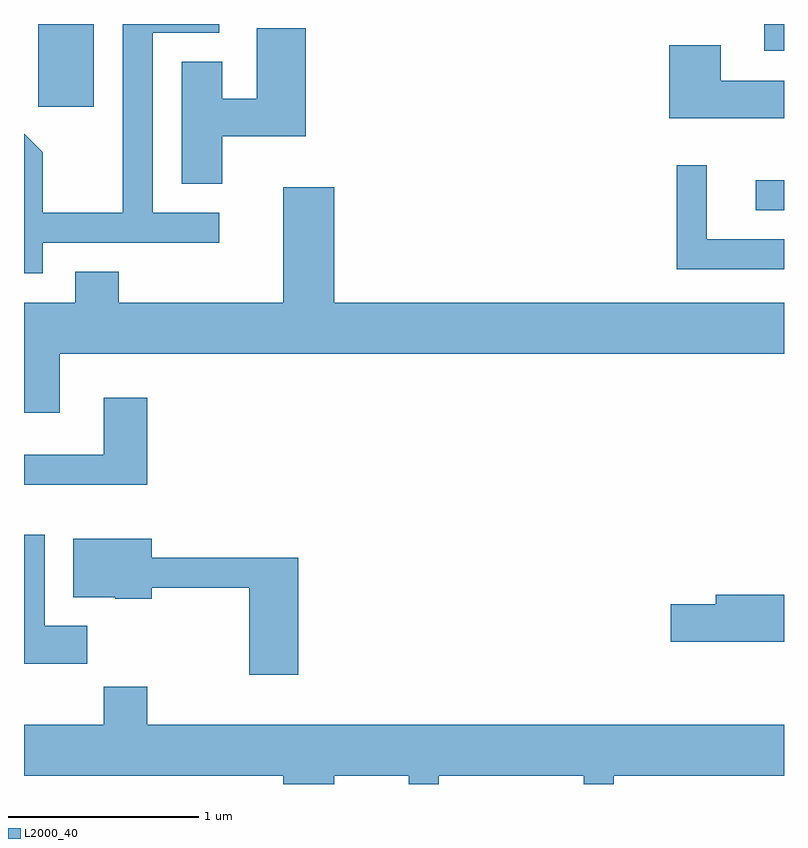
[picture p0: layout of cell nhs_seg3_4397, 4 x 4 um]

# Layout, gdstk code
import gdstk
lib = gdstk.Library(unit=1e-6, precision=1e-09)
def R(c, l, rs):  # rectangles x0, y0, x1, y1
    for r in rs: c.add(gdstk.rectangle(r[:2], r[2:], *l))
def P(c, l, *ps):  # polygons
    for p in ps: c.add(gdstk.Polygon(p, *l))
L2000_40 = (2000, 40)

nhs_seg3_4397 = lib.new_cell('nhs_seg3_4397')
R(nhs_seg3_4397, L2000_40, [(317.463,1208.911,317.611,1209.069), (313.686,1209.456,313.979,1209.892), (317.506,1209.751,317.611,1209.892)])
P(nhs_seg3_4397, L2000_40, [(313.709,1208.741),(314.638,1208.741),(314.638,1208.899),(314.289,1208.899),(314.289,1209.846),(314.638,1209.846),(314.638,1209.892),(314.131,1209.892),(314.131,1208.899),(313.709,1208.899),(313.709,1209.217),(313.611,1209.315),(313.611,1208.581),(313.709,1208.581)],
  [(314.654,1209.301),(315.094,1209.301),(315.094,1209.869),(314.836,1209.869),(314.836,1209.499),(314.654,1209.499),(314.654,1209.694),(314.441,1209.694),(314.441,1209.051),(314.654,1209.051)],
  [(317.611,1209.594),(317.279,1209.594),(317.279,1209.779),(317.006,1209.779),(317.006,1209.396),(317.611,1209.396)],
  [(317.611,1208.759),(317.204,1208.759),(317.204,1209.148),(317.046,1209.148),(317.046,1208.601),(317.611,1208.601)],
  [(313.799,1208.156),(317.611,1208.156),(317.611,1208.424),(315.244,1208.424),(315.244,1209.034),(314.976,1209.034),(314.976,1208.424),(314.109,1208.424),(314.109,1208.589),(313.881,1208.589),(313.881,1208.424),(313.611,1208.424),(313.611,1207.846),(313.799,1207.846)],
  [(314.259,1207.924),(314.031,1207.924),(314.031,1207.624),(313.611,1207.624),(313.611,1207.466),(314.259,1207.466)],
  [(313.944,1206.724),(313.719,1206.724),(313.719,1207.204),(313.611,1207.204),(313.611,1206.526),(313.944,1206.526)],
  [(315.054,1207.084),(314.284,1207.084),(314.284,1207.184),(313.871,1207.184),(313.871,1206.876),(314.09,1206.876),(314.09,1206.866),(314.284,1206.866),(314.284,1206.926),(314.796,1206.926),(314.796,1206.466),(315.054,1206.466)],
  [(317.611,1206.889),(317.251,1206.889),(317.251,1206.839),(317.016,1206.839),(317.016,1206.641),(317.611,1206.641)],
  [(315.244,1205.936),(315.636,1205.936),(315.636,1205.892),(315.794,1205.892),(315.794,1205.936),(316.556,1205.936),(316.556,1205.892),(316.714,1205.892),(316.714,1205.936),(317.611,1205.936),(317.611,1206.204),(314.259,1206.204),(314.259,1206.404),(314.031,1206.404),(314.031,1206.204),(313.611,1206.204),(313.611,1205.936),(314.976,1205.936),(314.976,1205.892),(315.244,1205.892)])

lib.write_gds('nhs_seg3_4397.gds')
